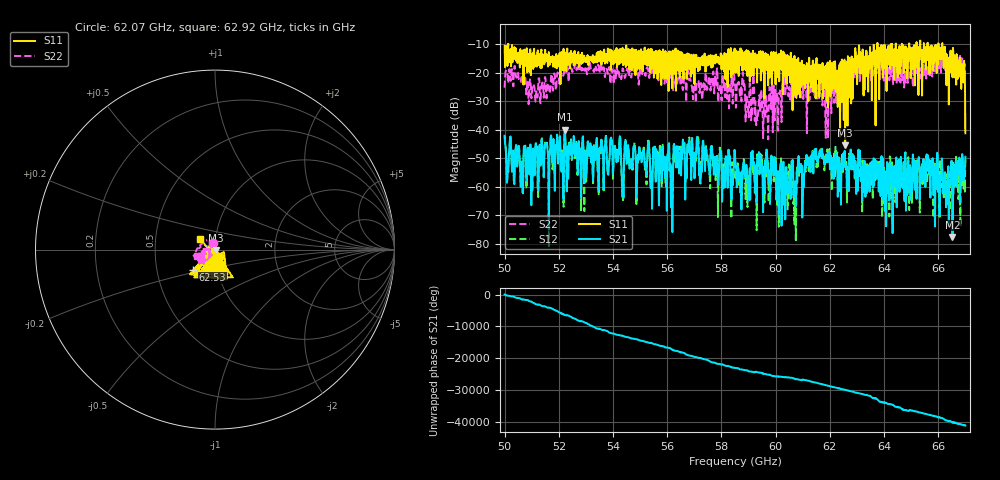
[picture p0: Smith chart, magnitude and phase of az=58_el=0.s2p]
!Created with skrf (http://scikit-rf.org).
# GHz S RI R 50.0
!freq ReS11 ImS11 ReS21 ImS21 ReS12 ImS12 ReS22 ImS22
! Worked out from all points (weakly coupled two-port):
!   1001 points, 50 GHz to 67 GHz, reference 50 ohm
!   highest |S21| = -39.99 dB at 52.23 GHz (marker M1); lowest = -77.6 dB at 66.52 GHz (marker M2)
!   lowest |S11| = -45.5 dB at 62.56 GHz (marker M3), VSWR 1.01, Z = 50.5 - j0.207 ohm
!   |S11| at or under -10 dB: 50.14 GHz to 63.75 GHz (13.62 GHz wide, 23.9 % of centre); 63.75 GHz to 64.25 GHz (491 MHz wide, 0.767 % of centre); 66.15 GHz to end of sweep (the widest 3 of 14)
!   |S22| runs from -43.4 to -13.5 dB; largest |S21 - S12| = 0.0022
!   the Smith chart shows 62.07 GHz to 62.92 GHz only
!   S11 on the Smith chart (normalised r, x): 62.07 GHz: 1.05, -0.09; 62.53 GHz: 0.77, -0.18; 62.92 GHz: 0.84, +0.10
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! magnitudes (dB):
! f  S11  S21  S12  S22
! 50 GHz  -10.5  -42.1  -42.3  -25.2
! 50.61 GHz  -16.0  -51.7  -52.4  -22.0
! 52.23 GHz  -12.8  -40.0  -39.9  -20.4
! 52.84 GHz  -14.9  -51.3  -51.7  -19.2
! 55.68 GHz  -14.2  -59.4  -55.6  -22.7
! 56.17 GHz  -13.2  -55.8  -56.2  -21.2
! 56.32 GHz  -26.3  -53.2  -53.1  -21.0
! 56.83 GHz  -15.3  -48.2  -49.0  -22.2
! 58.5 GHz  -20.0  -49.2  -48.2  -24.2
! 59.3 GHz  -14.4  -65.4  -75.2  -35.6
! 60.56 GHz  -13.0  -64.2  -55.6  -24.9
! 60.74 GHz  -16.0  -66.8  -78.8  -24.5
! 60.88 GHz  -16.5  -52.6  -52.2  -26.2
! 61.34 GHz  -23.4  -52.9  -50.6  -24.3
! 62.07 GHz  -26.1  -55.6  -61.4  -27.9
! 62.53 GHz  -15.6  -50.7  -50.4  -19.2
! 62.56 GHz  -45.5  -53.0  -50.6  -19.9
! 62.92 GHz  -19.9  -56.5  -57.1  -19.5
! 64.18 GHz  -17.2  -53.6  -52.1  -18.6
! 66.52 GHz  -21.6  -77.6  -63.3  -18.4
! 66.9 GHz  -17.0  -49.8  -50.6  -15.5
! 67 GHz  -41.2  -49.6  -49.1  -15.8
